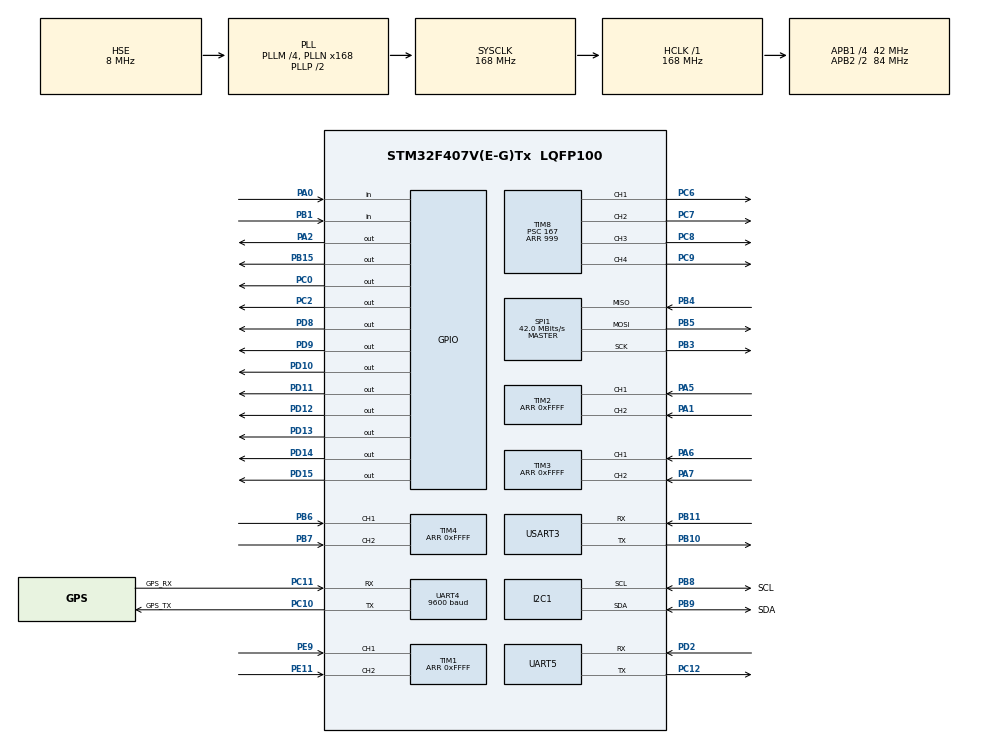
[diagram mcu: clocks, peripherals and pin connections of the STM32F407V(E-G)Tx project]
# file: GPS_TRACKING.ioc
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FREERTOS.BinarySemaphores01=gpsDataSem,Dynamic,NULL
FREERTOS.INCLUDE_vTaskDelayUntil=1
FREERTOS.Mutexes01=gpsDataMutex,Dynamic,NULL
FREERTOS.Tasks01=defaultTask,0,128,StartDefaultTask,Default,NULL,Dynamic,NULL,NULL;lcdTask,-3,250,StartLcdTask,Default,NULL,Dynamic,NULL,NULL;uartGPS,3,128,StartUartGPS,Default,NULL,Dynamic,NULL,NULL;gpsTask,2,200,StartGpsTask,Default,NULL,Dynamic,NULL,NULL;mpuTask,2,300,StartMPUTask,Default,NULL,Dynamic,NULL,NULL;motorTask,-3,128,StartMotorTask,Default,NULL,Dynamic,NULL,NULL
FREERTOS.configCHECK_FOR_STACK_OVERFLOW=1
FREERTOS.configMINIMAL_STACK_SIZE=128
I2C1.I2C_Mode=I2C_Fast
Mcu.Family=STM32F4
Mcu.Name=STM32F407V(E-G)Tx
Mcu.Package=LQFP100
NVIC.PriorityGroup=NVIC_PRIORITYGROUP_4
NVIC.TIM6_DAC_IRQn=true\:0\:0\:false\:false\:true\:false\:false\:true
NVIC.TimeBase=TIM6_DAC_IRQn
NVIC.TimeBaseIP=TIM6
NVIC.UART4_IRQn=true\:5\:0\:false\:false\:true\:true\:true\:true
NVIC.UART5_IRQn=true\:5\:0\:false\:false\:true\:true\:true\:true
NVIC.USART3_IRQn=true\:0\:0\:false\:false\:true\:true\:true\:true
PA0-WKUP.GPIO_PuPd=GPIO_PULLUP
PA0-WKUP.Signal=GPIO_Input
PA1.GPIO_PuPd=GPIO_PULLUP
PA1.GPIO_Speed=GPIO_SPEED_FREQ_VERY_HIGH
PA1.Signal=S_TIM2_CH2
PA13.Mode=Serial_Wire
PA13.Signal=SYS_JTMS-SWDIO
PA14.Mode=Serial_Wire
PA14.Signal=SYS_JTCK-SWCLK
PA2.Signal=GPIO_Output
PA5.GPIO_PuPd=GPIO_PULLUP
PA5.GPIO_Speed=GPIO_SPEED_FREQ_VERY_HIGH
PA5.Signal=S_TIM2_CH1_ETR
PA6.GPIO_PuPd=GPIO_PULLUP
PA6.GPIO_Speed=GPIO_SPEED_FREQ_VERY_HIGH
PA6.Signal=S_TIM3_CH1
PA7.GPIO_PuPd=GPIO_PULLUP
PA7.GPIO_Speed=GPIO_SPEED_FREQ_VERY_HIGH
PA7.Signal=S_TIM3_CH2
PB1.GPIO_PuPd=GPIO_PULLUP
PB1.Signal=GPIO_Input
PB10.Mode=Asynchronous
PB10.Signal=USART3_TX
PB11.Mode=Asynchronous
PB11.Signal=USART3_RX
PB15.Signal=GPIO_Output
PB3.Mode=Full_Duplex_Master
PB3.Signal=SPI1_SCK
PB4.Mode=Full_Duplex_Master
PB4.Signal=SPI1_MISO
PB5.Mode=Full_Duplex_Master
PB5.Signal=SPI1_MOSI
PB6.GPIO_PuPd=GPIO_PULLUP
PB6.GPIO_Speed=GPIO_SPEED_FREQ_VERY_HIGH
PB6.Signal=S_TIM4_CH1
PB7.GPIO_PuPd=GPIO_PULLUP
PB7.GPIO_Speed=GPIO_SPEED_FREQ_VERY_HIGH
PB7.Signal=S_TIM4_CH2
PB8.GPIO_Label=SCL
PB8.Mode=I2C
PB8.Signal=I2C1_SCL
PB9.GPIO_Label=SDA
PB9.Mode=I2C
PB9.Signal=I2C1_SDA
PC0.Signal=GPIO_Output
PC10.GPIO_Label=GPS_TX
PC10.Mode=Asynchronous
PC10.Signal=UART4_TX
PC11.GPIO_Label=GPS_RX
PC11.Mode=Asynchronous
PC11.Signal=UART4_RX
PC12.Mode=Asynchronous
PC12.Signal=UART5_TX
PC2.Signal=GPIO_Output
PC6.Signal=S_TIM8_CH1
PC7.Signal=S_TIM8_CH2
PC8.Signal=S_TIM8_CH3
PC9.Signal=S_TIM8_CH4
PD10.Signal=GPIO_Output
PD11.Signal=GPIO_Output
PD12.Signal=GPIO_Output
PD13.Signal=GPIO_Output
PD14.Signal=GPIO_Output
PD15.Signal=GPIO_Output
PD2.Mode=Asynchronous
PD2.Signal=UART5_RX
PD8.Signal=GPIO_Output
PD9.Signal=GPIO_Output
PE11.GPIO_PuPd=GPIO_PULLUP
PE11.GPIO_Speed=GPIO_SPEED_FREQ_VERY_HIGH
PE11.Signal=S_TIM1_CH2
PE9.GPIO_PuPd=GPIO_PULLUP
PE9.GPIO_Speed=GPIO_SPEED_FREQ_VERY_HIGH
PE9.Signal=S_TIM1_CH1
PH0-OSC_IN.Mode=HSE-External-Oscillator
PH0-OSC_IN.Signal=RCC_OSC_IN
PH1-OSC_OUT.Mode=HSE-External-Oscillator
PH1-OSC_OUT.Signal=RCC_OSC_OUT
ProjectManager.HeapSize=0x200
ProjectManager.StackSize=0x400
ProjectManager.TargetToolchain=STM32CubeIDE
RCC.48MHZClocksFreq_Value=84000000
RCC.AHBFreq_Value=168000000
RCC.APB1CLKDivider=RCC_HCLK_DIV4
RCC.APB1Freq_Value=42000000
RCC.APB1TimFreq_Value=84000000
RCC.APB2CLKDivider=RCC_HCLK_DIV2
RCC.APB2Freq_Value=84000000
RCC.APB2TimFreq_Value=168000000
RCC.CortexFreq_Value=168000000
RCC.HCLKFreq_Value=168000000
RCC.HSE_VALUE=8000000
RCC.HSI_VALUE=16000000
RCC.LSE_VALUE=32768
RCC.PLLM=4
RCC.PLLN=168
RCC.PLLSourceVirtual=RCC_PLLSOURCE_HSE
RCC.SYSCLKFreq_VALUE=168000000
RCC.SYSCLKSource=RCC_SYSCLKSOURCE_PLLCLK
RCC.VCOOutputFreq_Value=336000000
SH.S_TIM1_CH1.0=TIM1_CH1,Encoder_Interface
SH.S_TIM1_CH2.0=TIM1_CH2,Encoder_Interface
SH.S_TIM2_CH1_ETR.0=TIM2_CH1,Encoder_Interface
SH.S_TIM2_CH2.0=TIM2_CH2,Encoder_Interface
SH.S_TIM3_CH1.0=TIM3_CH1,Encoder_Interface
SH.S_TIM3_CH2.0=TIM3_CH2,Encoder_Interface
SH.S_TIM4_CH1.0=TIM4_CH1,Encoder_Interface
SH.S_TIM4_CH2.0=TIM4_CH2,Encoder_Interface
SH.S_TIM8_CH1.0=TIM8_CH1,PWM Generation1 CH1
SH.S_TIM8_CH2.0=TIM8_CH2,PWM Generation2 CH2
SH.S_TIM8_CH3.0=TIM8_CH3,PWM Generation3 CH3
SH.S_TIM8_CH4.0=TIM8_CH4,PWM Generation4 CH4
SPI1.CalculateBaudRate=42.0 MBits/s
SPI1.Direction=SPI_DIRECTION_2LINES
SPI1.Mode=SPI_MODE_MASTER
SPI1.VirtualType=VM_MASTER
TIM1.Channel-PWM\ Generation3\ CH3=TIM_CHANNEL_3
TIM1.EncoderMode=TIM_ENCODERMODE_TI12
TIM1.IC2Polarity=TIM_ICPOLARITY_FALLING
TIM1.Period=0xFFFF
TIM2.EncoderMode=TIM_ENCODERMODE_TI12
TIM2.IC2Polarity=TIM_ICPOLARITY_FALLING
TIM2.Period=0xFFFF
TIM3.EncoderMode=TIM_ENCODERMODE_TI12
TIM3.IC1Polarity=TIM_ICPOLARITY_FALLING
TIM3.IC2Polarity=TIM_ICPOLARITY_FALLING
TIM3.Period=0xFFFF
TIM4.CounterMode=TIM_COUNTERMODE_UP
TIM4.EncoderMode=TIM_ENCODERMODE_TI12
TIM4.IC1Polarity=TIM_ICPOLARITY_FALLING
TIM4.IC2Polarity=TIM_ICPOLARITY_FALLING
TIM4.Period=0xFFFF
TIM8.Channel-PWM\ Generation1\ CH1=TIM_CHANNEL_1
TIM8.Channel-PWM\ Generation2\ CH2=TIM_CHANNEL_2
TIM8.Channel-PWM\ Generation3\ CH3=TIM_CHANNEL_3
TIM8.Channel-PWM\ Generation4\ CH4=TIM_CHANNEL_4
TIM8.Period=999
TIM8.Prescaler=167
UART4.BaudRate=9600
UART4.VirtualMode=Asynchronous
UART5.VirtualMode=Asynchronous
USART3.VirtualMode=VM_ASYNC
VP_FREERTOS_VS_CMSIS_V1.Mode=CMSIS_V1
VP_SYS_VS_tim6.Mode=TIM6
board=custom

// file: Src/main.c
/* USER CODE BEGIN Header */
/**
 ******************************************************************************
 * @file           : main.c
 * @brief          : Main program body
 ******************************************************************************
 * @attention
 *
 * <h2><center>&copy; Copyright (c) 2020 STMicroelectronics.
 * All rights reserved.</center></h2>
 *
 * This software component is licensed by ST under Ultimate Liberty license
 * SLA0044, the "License"; You may not use this file except in compliance with
 * the License. You may obtain a copy of the License at:
 *                             www.st.com/SLA0044
 *
 ******************************************************************************
 */
/* USER CODE END Header */

#include "main.h"
#include "cmsis_os.h"
#include "i2c.h"
#include "spi.h"
#include "tim.h"
#include "usart.h"
#include "gpio.h"

/* USER CODE BEGIN Includes */
#include "hal_i2c_mpu6050.h"
#include "hal_i2c_hmc5883l.h"
#include <string.h>
#include <stdbool.h>
#include "DirectionData.h"
#include "utils.h"
#include <stdio.h>
/* USER CODE END Includes */

/* USER CODE BEGIN PV */
float gyro_deg[3];
float gyro_result[3] = { 0, 0, 0 };
float acce_result[3] = { 0, 0, 0 };

extern double realLat;
extern double realLon;
extern uint8_t C;
extern uint8_t Ce;
extern char gpsData[100];
char tempStr[100];
extern char dataSend[25];
extern char espData[400];
extern uint16_t checkGPS;
extern bool isOverFlow;
uint16_t check;
bool gpsAvailable = false;
bool espAvailable = false;
bool route = false;

extern char strLat[10];
extern char strLon[10];
char lcdLine0[15];
char lcdLine1[15];
extern Point targetPoint;
extern Point currentPos;

extern uint8_t disOK;

DirectionDataList list;

extern void resetArray(char pArr[], uint8_t length);
/* USER CODE END PV */

void SystemClock_Config(void);
void MX_FREERTOS_Init(void);

/* USER CODE BEGIN 0 */
int _write(int file, char *ptr, int len) {
	int i;
	for (i = 0; i < len; i++) {
		ITM_SendChar(*ptr++);
	}
	return len;
}
/* USER CODE END 0 */

int main(void) {
	/* USER CODE BEGIN 1 */
//	KalmanFilter kalmanX(0.001, 0.003, 0.03);
	/* USER CODE END 1 */

	/* MCU Configuration--------------------------------------------------------*/

	/* Reset of all peripherals, Initializes the Flash interface and the Systick. */
	HAL_Init();

	/* Configure the system clock */
	SystemClock_Config();

	/* Initialize all configured peripherals */
	MX_GPIO_Init();
	MX_UART4_Init();
	MX_I2C1_Init();
	MX_TIM1_Init();
	MX_TIM2_Init();
	MX_TIM3_Init();
	MX_TIM4_Init();
	MX_TIM8_Init();
	MX_UART5_Init();
	MX_SPI1_Init();
	MX_USART3_UART_Init();
	/* USER CODE BEGIN 2 */
	// Encoder
	HAL_TIM_Encoder_Start(&htim1, TIM_CHANNEL_1 | TIM_CHANNEL_2);
	HAL_TIM_Encoder_Start(&htim2, TIM_CHANNEL_1 | TIM_CHANNEL_2);
	HAL_TIM_Encoder_Start(&htim3, TIM_CHANNEL_1 | TIM_CHANNEL_2);
	HAL_TIM_Encoder_Start(&htim4, TIM_CHANNEL_1 | TIM_CHANNEL_2);
	// PWM
	HAL_TIM_PWM_Start(&htim8, TIM_CHANNEL_1);
	HAL_TIM_PWM_Start(&htim8, TIM_CHANNEL_2);
	HAL_TIM_PWM_Start(&htim8, TIM_CHANNEL_3);
	HAL_TIM_PWM_Start(&htim8, TIM_CHANNEL_4);
	uint8_t iGPS = 0;
	uint16_t iESP = 0;
	HAL_UART_Receive_IT(&huart4, &C, 1);
	HAL_UART_Receive_IT(&huart3, &Ce, 1);

	DirectionDataList_Init(&list);
	delay_init();
	ST7920_Init();
	ST7920_Clear();
	ST7920_SendString(0, 0, "Initializing");

	disOK = 40;
//	route = true;
	/* USER CODE END 2 */

	/* Call init function for freertos objects (in freertos.c) */
//	MX_FREERTOS_Init();
	/* Start scheduler */
//	osKernelStart();
	/* We should never get here as control is now taken by the scheduler */
	/* Infinite loop */
	while (1) {

		/* USER CODE BEGIN 3 */
		if (gpsAvailable) {
			gpsData[iGPS++] = C;
			gpsAvailable = false;
			if (gpsData[iGPS - 1] == '\n') {
				iGPS = 0;
				if (strstr(gpsData, "GNGGA") != NULL) {
					strcpy(tempStr, gpsData);
					resetArray(gpsData, strlen(gpsData));
					sprintf(lcdLine1, "health check:%d", (int) check++);
					if (checkGPS == 0) {
						if (check % 4 == 0) {
							sprintf(lcdLine0, "Initializing   ");
						} else if (check % 4 == 1) {
							sprintf(lcdLine0, "Initializing.  ");
						} else if (check % 4 == 2) {
							sprintf(lcdLine0, "Initializing.. ");
						} else {
							sprintf(lcdLine0, "Initializing...");
						}
					}
					ST7920_SendString(0, 0, lcdLine0);
					ST7920_SendString(1, 0, lcdLine1);
					if (getCoordinates(tempStr, &realLat, &realLon)) {

						sprintf(dataSend, "%d.%d,%d.%d\n", (int) realLat,
								(int) (realLat * 100000) % 1000000,
								(int) realLon,
								(int) (realLon * 100000) % 10600000);
						sprintf(strLat, "%d.%d", (int) realLat,
								(int) (realLat * 100000) % 100000);
						sprintf(strLon, "%d.%d", (int) realLon,
								(int) (realLon * 100000) % 1060000);
						sprintf(lcdLine0, "GPS check:%d    ", (int) checkGPS++);
						ST7920_SendString(0, 0, lcdLine0);
						ST7920_SendString(2, 0, strLat);
						ST7920_SendString(3, 0, strLon);

						UART_Print(&huart5, dataSend);
					}
				} else {
					resetArray(gpsData, strlen(gpsData));
				}
			}
		}
		if (espAvailable) {
			espData[iESP++] = Ce;
			espAvailable = false;
			if (espData[iESP - 1] == '\r') {
				char *subStr = strtok(espData, "m");
				while (subStr != NULL) {
					DirectionDataList_Put(&list, newData(subStr));
					subStr = strtok(NULL, "m");
				}
				route = true;
				MX_FREERTOS_Init();
				osKernelStart();
			}
		}

		if (HAL_GPIO_ReadPin(GPIOA, GPIO_PIN_0) == GPIO_PIN_RESET) {
			disOK -= 5;
			HAL_Delay(300);
		}

	}
	/* USER CODE END 3 */
}

void SystemClock_Config(void) {
	RCC_OscInitTypeDef RCC_OscInitStruct = { 0 };
	RCC_ClkInitTypeDef RCC_ClkInitStruct = { 0 };

	/** Configure the main internal regulator output voltage
	 */
	__HAL_RCC_PWR_CLK_ENABLE();
	__HAL_PWR_VOLTAGESCALING_CONFIG(PWR_REGULATOR_VOLTAGE_SCALE1);
	/** Initializes the CPU, AHB and APB busses clocks
	 */
	RCC_OscInitStruct.OscillatorType = RCC_OSCILLATORTYPE_HSE;
	RCC_OscInitStruct.HSEState = RCC_HSE_ON;
	RCC_OscInitStruct.PLL.PLLState = RCC_PLL_ON;
	RCC_OscInitStruct.PLL.PLLSource = RCC_PLLSOURCE_HSE;
	RCC_OscInitStruct.PLL.PLLM = 4;
	RCC_OscInitStruct.PLL.PLLN = 168;
	RCC_OscInitStruct.PLL.PLLP = RCC_PLLP_DIV2;
	RCC_OscInitStruct.PLL.PLLQ = 4;
	if (HAL_RCC_OscConfig(&RCC_OscInitStruct) != HAL_OK) {
		Error_Handler();
	}
	/** Initializes the CPU, AHB and APB busses clocks
	 */
	RCC_ClkInitStruct.ClockType = RCC_CLOCKTYPE_HCLK | RCC_CLOCKTYPE_SYSCLK
			| RCC_CLOCKTYPE_PCLK1 | RCC_CLOCKTYPE_PCLK2;
	RCC_ClkInitStruct.SYSCLKSource = RCC_SYSCLKSOURCE_PLLCLK;
	RCC_ClkInitStruct.AHBCLKDivider = RCC_SYSCLK_DIV1;
	RCC_ClkInitStruct.APB1CLKDivider = RCC_HCLK_DIV4;
	RCC_ClkInitStruct.APB2CLKDivider = RCC_HCLK_DIV2;

	if (HAL_RCC_ClockConfig(&RCC_ClkInitStruct, FLASH_LATENCY_5) != HAL_OK) {
		Error_Handler();
	}
}

void HAL_TIM_PeriodElapsedCallback(TIM_HandleTypeDef *htim) {
	if (htim->Instance == TIM6) {
		HAL_IncTick();
	}
}

void Error_Handler(void) {
}

/************************ (C) COPYRIGHT STMicroelectronics *****END OF FILE****/

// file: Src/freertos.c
/* USER CODE BEGIN Header */
/**
 ******************************************************************************
 * File Name          : freertos.c
 * Description        : Code for freertos applications
 ******************************************************************************
 * @attention
 *
 * <h2><center>&copy; Copyright (c) 2020 STMicroelectronics.
 * All rights reserved.</center></h2>
 *
 * This software component is licensed by ST under Ultimate Liberty license
 * SLA0044, the "License"; You may not use this file except in compliance with
 * the License. You may obtain a copy of the License at:
 *                             www.st.com/SLA0044
 *
 ******************************************************************************
 */
/* USER CODE END Header */

#include "FreeRTOS.h"
#include "task.h"
#include "main.h"
#include "cmsis_os.h"

/* USER CODE BEGIN Includes */
#include <string.h>
#include <stdio.h>
#include <stdlib.h>
#include <stdbool.h>
#include <math.h>
#include "i2c.h"
#include "tim.h"
#include "usart.h"
#include "mjson.h"
#include "DirectionData.h"
#include "hal_i2c_mpu6050.h"
#include "hal_i2c_hmc5883l.h"
#include "kalman.h"
#include "motor.h"

#include "ST7920_SERIAL.h"
#include "bitmap.h"
#include "delay.h"
#include "utils.h"
/* USER CODE END Includes */

/* USER CODE BEGIN PD */

char strO[50] = "";
char lcdDis[7] = "";
char lcdBea[7] = "";
char lcdHea[7] = "";
char lcdAng[7] = "";
char lcdTargetLat[10] = "";
char lcdTargetLon[10] = "";
char strLat[10] = "";
char strLon[10] = "";

/* For GPS */
double realLat = 0;
double realLon = 0;
uint8_t C;
char gpsData[100];
uint16_t checkGPS;
bool isOverFlow = false;

/* For ESP */
char espData[400];
char dataSend[25];
uint8_t Ce;
uint16_t checkESP;
uint16_t disLeft;
uint16_t disFront;
uint16_t disRight;
char *token;
uint16_t debug = 0;

/* For MPU */
extern float gyro_deg[3];
extern float gyro_result[3];
extern float acce_result[3];
extern uint8_t check;
float compass[3] = { 0, 0, 0 };
double headingDegrees, fixedHeadingDegrees;
double headingDegrees2;
double declinationAngle;
double heading;
double heading2;
float accPitch = 0;
float accRoll = 0;
float kalPitch = 0;
float kalRoll = 0;
float yaw_gyro_deg = 0;
bool initGyro = false;
bool mapAngle = false;
bool isDone = false;

uint64_t sec = 0;

/* For Encoder */
short enc1 = 0;
short enc2 = 0;
short enc4 = 0;
/* For PID */

float O_pid;
int setPoint;
int8_t diff = 2;
int16_t speed = 100;
int8_t base_diff = 30;

/* For main */
Point targetPoint;
Point currentPos;

float distance;
float bearing;
uint16_t cntVatCan = 0;
bool vatCan = false;

char disStr[15];
uint8_t iDis;
uint8_t disL;
uint8_t disF;
uint8_t disR;
uint8_t disOK;

bool isTimerReset = false;

uint32_t checkMotor = 0;
uint32_t checkMPU = 0;
uint32_t checkMTask = 0;
bool isCalib = false;
int8_t isLe = 0;		//-1:left	0:none	1:right

extern DirectionDataList list;

/* USER CODE END PD */

/* USER CODE BEGIN PM */
#define STR_INDIR(x) #x
#define STR(x) STR_INDIR(x)
#define TEST_INT 123
/* USER CODE END PM */

osThreadId defaultTaskHandle;
osThreadId lcdTaskHandle;
osThreadId uartGPSHandle;
osThreadId gpsTaskHandle;
osThreadId mpuTaskHandle;
osThreadId motorTaskHandle;
osMutexId gpsDataMutexHandle;
osSemaphoreId gpsDataSemHandle;

/* USER CODE BEGIN FunctionPrototypes */
void cvtCoordinates(double tempCoor, double *gCoor);
bool getCoordinates(char rawStr[], double *pLat, double *pLon);
int json_myobj_read(const char *buf, DirectionData *myobj);
void resetArray(char pArr[], uint8_t length);
void resetArray(char pArr[], uint8_t length);
/* USER CODE END FunctionPrototypes */

void StartDefaultTask(void const *argument);
void StartLcdTask(void const *argument);
void StartUartGPS(void const *argument);
void StartGpsTask(void const *argument);
void StartMPUTask(void const *argument);
void StartMotorTask(void const *argument);

void MX_FREERTOS_Init(void); /* (MISRA C 2004 rule 8.1) */

/* GetIdleTaskMemory prototype (linked to static allocation support) */
void vApplicationGetIdleTaskMemory(StaticTask_t **ppxIdleTaskTCBBuffer,
		StackType_t **ppxIdleTaskStackBuffer, uint32_t *pulIdleTaskStackSize);

/* Hook prototypes */
void vApplicationStackOverflowHook(xTaskHandle xTask, signed char *pcTaskName);

/* USER CODE BEGIN 4 */
__weak void vApplicationStackOverflowHook(xTaskHandle xTask,
		signed char *pcTaskName) {
	isOverFlow = true;
	/* Run time stack overflow checking is performed if
	 configCHECK_FOR_STACK_OVERFLOW is defined to 1 or 2. This hook function is
	 called if a stack overflow is detected. */
}
/* USER CODE END 4 */

/* USER CODE BEGIN GET_IDLE_TASK_MEMORY */
static StaticTask_t xIdleTaskTCBBuffer;
static StackType_t xIdleStack[configMINIMAL_STACK_SIZE];

void vApplicationGetIdleTaskMemory(StaticTask_t **ppxIdleTaskTCBBuffer,
		StackType_t **ppxIdleTaskStackBuffer, uint32_t *pulIdleTaskStackSize) {
	*ppxIdleTaskTCBBuffer = &xIdleTaskTCBBuffer;
	*ppxIdleTaskStackBuffer = &xIdleStack[0];
	*pulIdleTaskStackSize = configMINIMAL_STACK_SIZE;
	/* place for user code */
}
/* USER CODE END GET_IDLE_TASK_MEMORY */

void MX_FREERTOS_Init(void) {
	/* Create the mutex(es) */
	/* definition and creation of gpsDataMutex */
	osMutexDef(gpsDataMutex);
	gpsDataMutexHandle = osMutexCreate(osMutex(gpsDataMutex));

	/* Create the semaphores(s) */
	/* definition and creation of gpsDataSem */
	osSemaphoreDef(gpsDataSem);
	gpsDataSemHandle = osSemaphoreCreate(osSemaphore(gpsDataSem), 1);

	/* Create the thread(s) */
	/* definition and creation of defaultTask */
	osThreadDef(defaultTask, StartDefaultTask, osPriorityNormal, 0, 128);
	defaultTaskHandle = osThreadCreate(osThread(defaultTask), NULL);

	/* definition and creation of lcdTask */
	osThreadDef(lcdTask, StartLcdTask, osPriorityIdle, 0, 250);
	lcdTaskHandle = osThreadCreate(osThread(lcdTask), NULL);

	/* definition and creation of uartGPS */
	osThreadDef(uartGPS, StartUartGPS, osPriorityRealtime, 0, 128);
	uartGPSHandle = osThreadCreate(osThread(uartGPS), NULL);

	/* definition and creation of gpsTask */
	osThreadDef(gpsTask, StartGpsTask, osPriorityHigh, 0, 200);
	gpsTaskHandle = osThreadCreate(osThread(gpsTask), NULL);

	/* definition and creation of mpuTask */
	osThreadDef(mpuTask, StartMPUTask, osPriorityHigh, 0, 300);
	mpuTaskHandle = osThreadCreate(osThread(mpuTask), NULL);

	/* definition and creation of motorTask */
	osThreadDef(motorTask, StartMotorTask, osPriorityIdle, 0, 128);
	motorTaskHandle = osThreadCreate(osThread(motorTask), NULL);

}

void StartDefaultTask(void const *argument) {
	/* USER CODE BEGIN StartDefaultTask */
	uint32_t time_until;
	uint8_t time_sample = 10;

	uint8_t index = 0;

	DirectionData *temp = DirectionDataList_Get(&list);
	targetPoint = newPoint(temp->lat, temp->lon);
	free(temp);

	/* Infinite loop */
	while (1) {
		if (HAL_GPIO_ReadPin(GPIOA, GPIO_PIN_0) == GPIO_PIN_RESET) {
			break;
		}
		osDelayUntil(&time_until, time_sample);
	}
#if 1
	resetTimer();
	while (1) {
		if (getTimer5ms() < 800 && !isCalib) {
			if (calib(322, headingDegrees, 0, 0, 0)) {
				isCalib = true;
			}
		} else {
			isCalib = true;
			speed_run_pid(0, 0, 0, 0);
		}
		if (isCalib) {
			if (0) {
				run_shift_right(bearing, yaw_gyro_deg, 60, 0);
			} else if (0) {
				run_shift_left(bearing, yaw_gyro_deg, 60, 0);
			} else {
				isTimerReset = false;
				if (isDone) {
					speed_run_pid(0, 0, 0, 0);
				} else {
					if (distance <= 4) {
						speed_run_pid(10, 10, 10, 10);
						if (list.count == 1) {
							isDone = true;
							break;
						} else if (list.count > 1) {
							DirectionData *temp = DirectionDataList_Get(&list);
							targetPoint = newPoint(temp->lat, temp->lon);
							free(temp);
						}
						osDelay(1300);
					} else if (distance <= 10) {
						run_following_heading(bearing, yaw_gyro_deg, 30, 0, 5);
					} else {
						run_following_heading(bearing, yaw_gyro_deg, 60, 0, 5);
					}
				}
			}

		}
		checkMotor++;
		osDelay(1);
	}
#endif
	for (;;) {
		speed_run_pid(0, 0, 0, 0);
		osDelayUntil(&time_until, time_sample);
	}
	/* USER CODE END StartDefaultTask */
}

void StartLcdTask(void const *argument) {
	/* USER CODE BEGIN StartLcdTask */
	uint32_t time_until;
	uint8_t time_sample = 10;

	delay_init();
	ST7920_Init();
	ST7920_Clear();
	/* Infinite loop */
	for (;;) {
		/* Distance & bearing */
		sprintf(lcdDis, "D:%d  ", (int) distance);
		sprintf(lcdBea, "B:%d  ", (int) bearing);
		/* Heading & angle */
		sprintf(lcdHea, "H:%d  ", (int) headingDegrees);
		sprintf(lcdAng, "A:%d  ", (int) yaw_gyro_deg);
		/* Target Point */
		sprintf(lcdTargetLat, "%d.%d", (int) targetPoint.lat,
				(int) (targetPoint.lat * 100000) % 100000);
		sprintf(lcdTargetLon, "%d.%d", (int) targetPoint.lon,
				(int) (targetPoint.lon * 100000) % 1060000);
		/* Current position */
		sprintf(strLat, "%d.%d", (int) realLat,
				(int) (realLat * 100000) % 100000);
		sprintf(strLon, "%d.%d", (int) realLon,
				(int) (realLon * 100000) % 1060000);

		/* Print LCD */
		ST7920_SendString(0, 5, lcdHea);
		ST7920_SendString(1, 5, lcdAng);
		ST7920_SendString(2, 5, lcdDis);
		ST7920_SendString(3, 5, lcdBea);

		ST7920_SendString(0, 0, lcdTargetLat);
		ST7920_SendString(1, 0, lcdTargetLon);
		ST7920_SendString(2, 0, strLat);
		ST7920_SendString(3, 0, strLon);
		osDelayUntil(&time_until, time_sample);

	}
	/* USER CODE END StartLcdTask */
}

void StartUartGPS(void const *argument) {
	/* USER CODE BEGIN StartUartGPS */
	uint8_t cnt = 0;
	HAL_UART_Receive_IT(&huart4, &C, 1);
	/* Infinite loop */
	for (;;) {
		osThreadSuspend(uartGPSHandle);

		gpsData[cnt++] = C;
		if (gpsData[cnt - 1] == '\n') {
			if (strstr(gpsData, "GNGGA") != NULL) {
				osSemaphoreRelease(gpsDataSemHandle);
			} else {
				resetArray(gpsData, strlen(gpsData));
			}
			cnt = 0;
		}
		HAL_UART_Receive_IT(&huart4, &C, 1);
	}
	/* USER CODE END StartUartGPS */
}

void StartGpsTask(void const *argument) {
	/* USER CODE BEGIN StartGpsTask */
	char tempStr[100];
	checkGPS = 0;
	/* Infinite loop */
	for (;;) {
		osSemaphoreWait(gpsDataSemHandle, 2000);
		resetArray(tempStr, strlen(tempStr));
		strcpy(tempStr, gpsData);
		resetArray(gpsData, strlen(gpsData));
		if (getCoordinates(tempStr, &realLat, &realLon)) {
			checkGPS++;
			sprintf(dataSend, "%d.%d,%d.%d\n", (int) realLat,
					(int) (realLat * 100000) % 1000000, (int) realLon,
					(int) (realLon * 100000) % 10600000);
			currentPos = newPoint(realLat, realLon);
			distance = calDistance(currentPos, targetPoint);
			bearing = calBearing(currentPos, targetPoint);
			UART_Print(&huart5, dataSend);
		}
		osDelay(1);
	}
	/* USER CODE END StartGpsTask */
}

void StartMPUTask(void const *argument) {
	/* USER CODE BEGIN StartMPUTask */
	uint32_t time_until;
	uint8_t time_sample = 5;

	while (MPU6050_Init(&hi2c1, MPU6050_DataRate_1KHz, MPU6050_Accelerometer_2G,
			MPU6050_Gyroscope_500s) != MPU6050_Result_Ok) {
		HAL_Delay(100);
	}
	while (!HMC5883L_initialize()) {
		HAL_Delay(100);
	}

	setRange(HMC5883L_RANGE_1_3GA); //HMC5883L_RANGE_8_1GA	HMC5883L_RANGE_1_3GA
	setMeasurementMode(HMC5883L_IDLE); //HMC5883L_CONTINOUS
	setDataRate(HMC5883L_DATARATE_75HZ);
	setSamples(HMC5883L_SAMPLES_8);

	MyKalman kalmanY = newKalman(0.001, 0.003, 0.03);
	MyKalman kalmanX = newKalman(0.001, 0.003, 0.03);
	/* Infinite loop */
	for (;;) {
		/* Gyroscope */
		MPU6050_Read_Gyro(&hi2c1, gyro_result, MPU6050_GYRO_SENS_250); //MPU6050_GYRO_SENS_250
//		for (uint8_t i = 0; i < 3; i++) {
//			if (abs(gyro_result[i]) > 0.1) {
//				gyro_deg[i] -= gyro_result[i] * time_sample / 1005;
//			} /*else if (gyro_result[i] < -0.1) {
//				gyro_deg[i] -= gyro_result[i] * time_sample / 995;
//			}*/
//		}
		if (gyro_result[2] > 0.8) {
			gyro_deg[2] -= gyro_result[2] * time_sample / 1003;
		} else if (gyro_result[2] < -0.8) {
			gyro_deg[2] -= gyro_result[2] * time_sample / 985;
		}
		if (gyro_deg[2] >= 360) {
			gyro_deg[2] -= 360;
		} else if (gyro_deg[2] < 0) {
			gyro_deg[2] += 360;
		}
		/* Compass */
		readNormalize(compass);

//		/* Accelerometer */
//		MPU6050_Read_Accel(&hi2c1, acce_result, MPU6050_ACCE_SENS_2);
//		accPitch = -atan2(acce_result[0],
//				sqrt(
//						acce_result[1] * acce_result[1]
//								+ acce_result[2] * acce_result[2]));
//		accRoll = atan2(acce_result[1], acce_result[2]);
//		kalPitch = kalmanUpdate(&kalmanY, accPitch, gyro_result[1],
//				time_sample * 1000);
//		kalPitch = kalmanUpdate(&kalmanX, accRoll, gyro_result[0],
//				time_sample * 1000);
//
//		float cosRoll = cos(accRoll);
//		float sinRoll = sin(accRoll);
//		float cosPitch = cos(accPitch);
//		float sinPitch = sin(accPitch);
//
//		float Xh = compass[0] * cosPitch + compass[2] * sinPitch;
//		float Yh = compass[0] * sinRoll * sinPitch + compass[1] * cosRoll
//				- compass[2] * sinRoll * cosPitch;
//
//		heading2 = atan2(Yh, Xh);

		heading = atan2(compass[1], compass[0]);
		declinationAngle = (0 + (39.0 / 60.0)) / (180 / M_PI);
		heading -= declinationAngle;
//		heading2 -= declinationAngle;
		if (heading < 0) {
			heading += 2 * M_PI;
//			heading2 += 2 * M_PI;
		} else if (heading > 2 * M_PI) {
			heading -= 2 * M_PI;
//			heading2 += 2 * M_PI;
		}
		headingDegrees = heading * 180 / M_PI;
//		headingDegrees2 = heading2 * 180 / M_PI;

		if (abs(headingDegrees - 322) <= 1) {
			gyro_deg[2] = headingDegrees;
		} else if (abs(headingDegrees - 18) <= 1) {
			gyro_deg[2] = headingDegrees + 32;
		} else if (abs(headingDegrees - 271) <= 1) {
			gyro_deg[2] = headingDegrees - 41;
		} else if (abs(headingDegrees - 118) <= 1) {
			gyro_deg[2] = headingDegrees + 23;
		}
		cntTimer5ms++;
		yaw_gyro_deg = gyro_deg[2];
		checkMPU++;
		osDelayUntil(&time_until, time_sample);
	}
	/* USER CODE END StartMPUTask */
}

void StartMotorTask(void const *argument) {
	/* USER CODE BEGIN StartMotorTask */
	uint32_t time_until;
	uint8_t time_sample = 6;
	/* init PID */
	pidFL = newPID(0.3, 0, 20); //2 0 10
	pidFR = newPID(0.3, 0, 20);
	pidBL = newPID(0.3, 0, 20);
	pidBR = newPID(0.3, 0, 20);
	/* counter variable to generate interrupt each 1s */
	uint8_t l_cntT = 0;
	/* Infinite loop */
	for (;;) {
		checkMTask++;
		/* each 15ms */
		l_cntT++;

		/* read encoder */
		l_enc_FL = __HAL_TIM_GET_COUNTER(&htim2);
		l_enc_FR = __HAL_TIM_GET_COUNTER(&htim3);
		l_enc_BL = __HAL_TIM_GET_COUNTER(&htim1);
		l_enc_BR = __HAL_TIM_GET_COUNTER(&htim4);

		pidFL._input = l_enc_FL;
		pidFR._input = l_enc_FR;
		pidBL._input = l_enc_BL;
		pidBR._input = l_enc_BR;

		computePID(&pidFL, pidFL._setPoint);
		computePID(&pidFR, pidFR._setPoint);
		computePID(&pidBL, pidBL._setPoint);
		computePID(&pidBR, pidBR._setPoint);

		speed_run(FRONT_LEFT, pidFL._output);
		speed_run(BACK_LEFT, pidBL._output);
		speed_run(BACK_RIGHT, pidBR._output);
		if (running_type == RUN_STRAIGHT) {
			if (abs(pidFR._input) < 5) {
				/* encoder of FR wheel DOES NOT work */
				speed_run(FRONT_RIGHT, pidBR._output);
			} else {
				/* encoder of FR wheel works normally */
				speed_run(FRONT_RIGHT, pidFR._output);
			}
		} else if (running_type == SHILF_LEFT) {
			if (abs(pidFR._input) < 5) {
				/* encoder of FR wheel DOES NOT work */
				speed_run(FRONT_RIGHT, -pidBR._output);
			} else {
				/* encoder of FR wheel works normally */
				speed_run(FRONT_RIGHT, pidFR._output);
			}
		} else if (running_type == SHIFT_RIGHT) {
			if (abs(pidFR._input) < 5) {
				/* encoder of FR wheel DOES NOT work */
				speed_run(FRONT_RIGHT, -pidBR._output);
			} else {
				/* encoder of FR wheel works normally */
				speed_run(FRONT_RIGHT, pidFR._output);
			}
		}

		__HAL_TIM_SET_COUNTER(&htim2, 0);
		__HAL_TIM_SET_COUNTER(&htim3, 0);
		__HAL_TIM_SET_COUNTER(&htim1, 0);
		__HAL_TIM_SET_COUNTER(&htim4, 0);
		/* each 1s */
		if (l_cntT >= 20) {
			l_cntT = 0;
			base_diff = -base_diff;
		}
		osDelayUntil(&time_until, time_sample);
	}
	/* USER CODE END StartMotorTask */
}

/* USER CODE BEGIN Application */
void cvtCoordinates(double tempCoor, double *gCoor) {
	int temp = (int) tempCoor / 100;
	*gCoor = temp + ((tempCoor - 100 * temp) / 60);
}

bool getCoordinates(char rawStr[], double *pLat, double *pLon) {
	uint8_t cntComma = 2;
	uint8_t index = 17;
	char lat[11] = "", lon[12] = "";
	uint8_t latIndex = 0, lonIndex = 0;
	if (strstr(rawStr, "$GNGGA") != NULL) {
		while (cntComma != 5) {
			if (rawStr[index] == ',') {
				index++;
				cntComma++;
			} else {
				switch (cntComma) {
				case 1:
				case 2:
					lat[latIndex] = rawStr[index];
					index++;
					latIndex++;
					break;
				case 4:
					lon[lonIndex] = rawStr[index];
					index++;
					lonIndex++;
					break;
				default:
					index++;
					break;
				}
			}
		}
		lat[latIndex - 1] = '\0';
		lon[lonIndex - 1] = '\0';
		if (strcmp(lat, "") != 0 && strcmp(lon, "") != 0) {
			cvtCoordinates(atof(lat), pLat);
			cvtCoordinates(atof(lon), pLon);
			return true;
		}
		return false;
	}
	return false;
}

void resetArray(char pArr[], uint8_t length) {
	for (int i = 0; i < length; i++) {
		pArr[i] = 0;
	}
}
/* USER CODE END Application */

/************************ (C) COPYRIGHT STMicroelectronics *****END OF FILE****/
